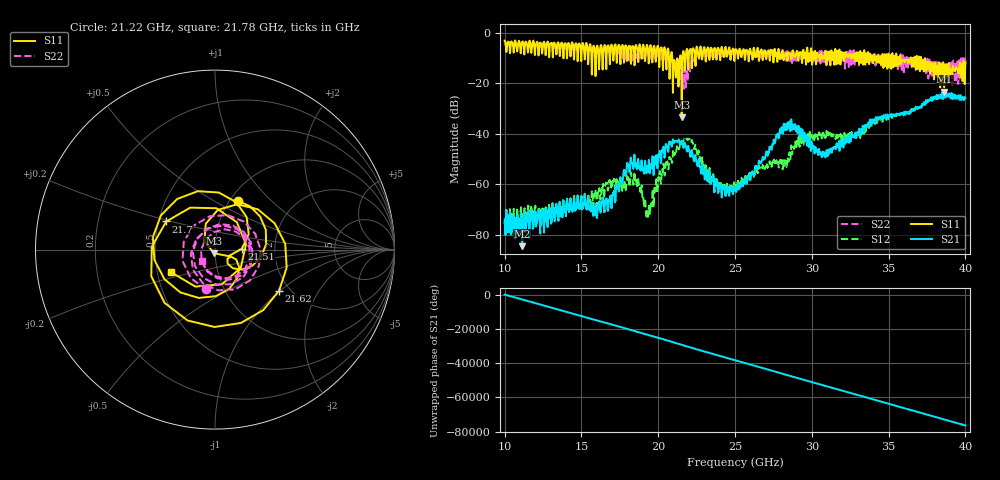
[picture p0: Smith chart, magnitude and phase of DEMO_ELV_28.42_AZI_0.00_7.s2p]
! 11/3/2026 12:49:23 PM
! C:\ANRITSUVNA\TEMP\TEMP.S2P
! CHANNEL.1
! TR.MEASUREMENT
! RAW.DATA
# HZ S RI R 50.0
! FREQ.HZ  S11RE  S11IM  S21RE  S21IM  S12RE  S12IM  S22RE  S22IM
!; PortSelection: Port_12
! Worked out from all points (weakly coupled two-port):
!   3001 points, 10 GHz to 40 GHz, reference 50 ohm
!   highest |S21| = -23.40 dB at 38.62 GHz (marker M1); lowest = -84.5 dB at 11.15 GHz (marker M2)
!   lowest |S11| = -33.5 dB at 21.53 GHz (marker M3), VSWR 1.04, Z = 49.3 - j1.96 ohm
!   |S11| at or under -10 dB: 20.92 GHz to 21.4 GHz (489.8 MHz wide, 2.31 % of centre); 35.78 GHz to 36.44 GHz (663.5 MHz wide, 1.84 % of centre); 37.12 GHz to end of sweep (the widest 3 of 114)
!   |S22| runs from -22.2 to -4.5 dB; largest |S21 - S12| = 0.082
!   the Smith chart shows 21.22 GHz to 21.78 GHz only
!   S11 on the Smith chart (normalised r, x): 21.22 GHz: 1.08, +0.65; 21.51 GHz: 1.35, +0.01; 21.62 GHz: 1.76, -0.98; 21.7 GHz: 0.55, +0.19; 21.78 GHz: 0.59, -0.16
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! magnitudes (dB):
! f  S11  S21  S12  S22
! 10 GHz  -3.2  -75.3  -74.7  -4.7
! 11.15 GHz  -3.6  -84.5  -75.0  -5.6
! 15 GHz  -10.2  -65.2  -65.3  -6.4
! 16.84 GHz  -11.3  -65.8  -58.9  -7.1
! 18.34 GHz  -5.3  -52.5  -58.8  -10.9
! 19.34 GHz  -7.4  -55.2  -72.8  -7.3
! 20 GHz  -5.7  -49.2  -58.2  -7.5
! 21.22 GHz  -10.4  -43.1  -44.9  -12.9
! 21.51 GHz  -16.5  -42.9  -44.0  -18.1
! 21.53 GHz  -33.5  -42.9  -44.2  -18.1
! 21.62 GHz  -7.4  -45.3  -43.2  -15.9
! 21.7 GHz  -10.1  -43.9  -42.4  -15.1
! 21.78 GHz  -11.2  -44.4  -42.5  -20.0
! 22.69 GHz  -8.9  -52.7  -49.2  -8.2
! 24.02 GHz  -10.0  -60.6  -60.2  -9.1
! 25 GHz  -7.5  -62.3  -60.8  -8.3
! 28.3 GHz  -8.4  -36.2  -50.6  -8.8
! 30 GHz  -10.6  -43.6  -40.5  -8.0
! 30.9 GHz  -7.4  -48.7  -41.3  -7.7
! 35 GHz  -8.5  -33.4  -33.8  -11.0
! 38.62 GHz  -21.6  -23.4  -23.4  -16.8
! 40 GHz  -11.7  -26.0  -26.0  -12.3
